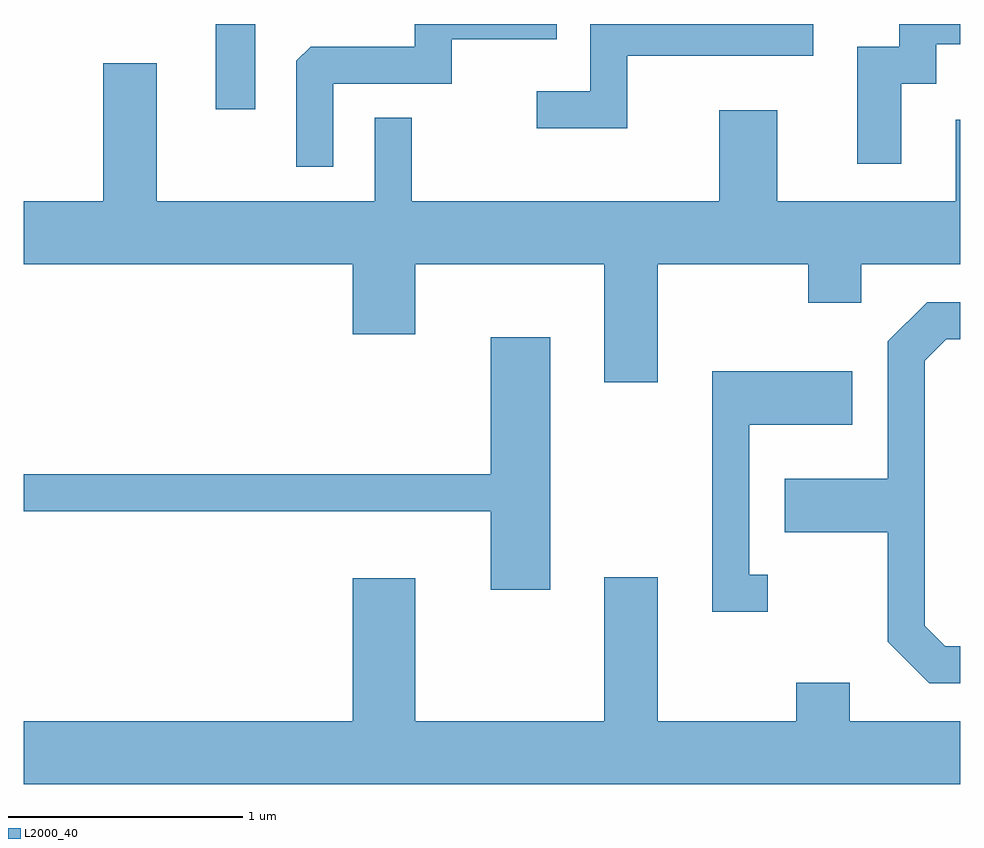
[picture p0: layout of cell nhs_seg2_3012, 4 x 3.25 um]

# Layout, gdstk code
import gdstk
lib = gdstk.Library(unit=1e-6, precision=1e-09)
def R(c, l, rs):  # rectangles x0, y0, x1, y1
    for r in rs: c.add(gdstk.rectangle(r[:2], r[2:], *l))
def P(c, l, *ps):  # polygons
    for p in ps: c.add(gdstk.Polygon(p, *l))
L2000_40 = (2000, 40)

nhs_seg2_3012 = lib.new_cell('nhs_seg2_3012')
R(nhs_seg2_3012, L2000_40, [(274.431,1033.438,274.599,1033.802)])
P(nhs_seg2_3012, L2000_40, [(274.934,1033.546),(275.439,1033.546),(275.439,1033.736),(275.888,1033.736),(275.888,1033.802),(275.281,1033.802),(275.281,1033.704),(274.837,1033.704),(274.776,1033.644),(274.776,1033.193),(274.934,1033.193)],
  [(276.189,1033.666),(276.984,1033.666),(276.984,1033.802),(276.031,1033.802),(276.031,1033.514),(275.803,1033.514),(275.803,1033.356),(276.189,1033.356)],
  [(277.359,1033.546),(277.509,1033.546),(277.509,1033.716),(277.611,1033.716),(277.611,1033.802),(277.351,1033.802),(277.351,1033.704),(277.171,1033.704),(277.171,1033.206),(277.359,1033.206)],
  [(276.319,1032.776),(276.961,1032.776),(276.961,1032.611),(277.189,1032.611),(277.189,1032.776),(277.611,1032.776),(277.611,1033.394),(277.591,1033.394),(277.591,1033.044),(276.829,1033.044),(276.829,1033.434),(276.581,1033.434),(276.581,1033.044),(275.269,1033.044),(275.269,1033.402),(275.111,1033.402),(275.111,1033.044),(274.179,1033.044),(274.179,1033.634),(273.951,1033.634),(273.951,1033.044),(273.611,1033.044),(273.611,1032.776),(275.016,1032.776),(275.016,1032.476),(275.284,1032.476),(275.284,1032.776),(276.091,1032.776),(276.091,1032.271),(276.319,1032.271)],
  [(277.611,1031.144),(277.547,1031.144),(277.459,1031.232),(277.459,1032.363),(277.552,1032.456),(277.611,1032.456),(277.611,1032.614),(277.469,1032.614),(277.301,1032.447),(277.301,1031.859),(276.861,1031.859),(276.861,1031.631),(277.301,1031.631),(277.301,1031.164),(277.479,1030.986),(277.611,1030.986)],
  [(275.859,1032.464),(275.606,1032.464),(275.606,1031.879),(273.611,1031.879),(273.611,1031.721),(275.606,1031.721),(275.606,1031.386),(275.859,1031.386)],
  [(276.788,1031.449),(276.709,1031.449),(276.709,1032.091),(277.149,1032.091),(277.149,1032.319),(276.551,1032.319),(276.551,1031.291),(276.788,1031.291)],
  [(277.611,1030.824),(277.139,1030.824),(277.139,1030.989),(276.911,1030.989),(276.911,1030.824),(276.319,1030.824),(276.319,1031.439),(276.091,1031.439),(276.091,1030.824),(275.284,1030.824),(275.284,1031.434),(275.016,1031.434),(275.016,1030.824),(273.611,1030.824),(273.611,1030.556),(277.611,1030.556)])

lib.write_gds('nhs_seg2_3012.gds')
